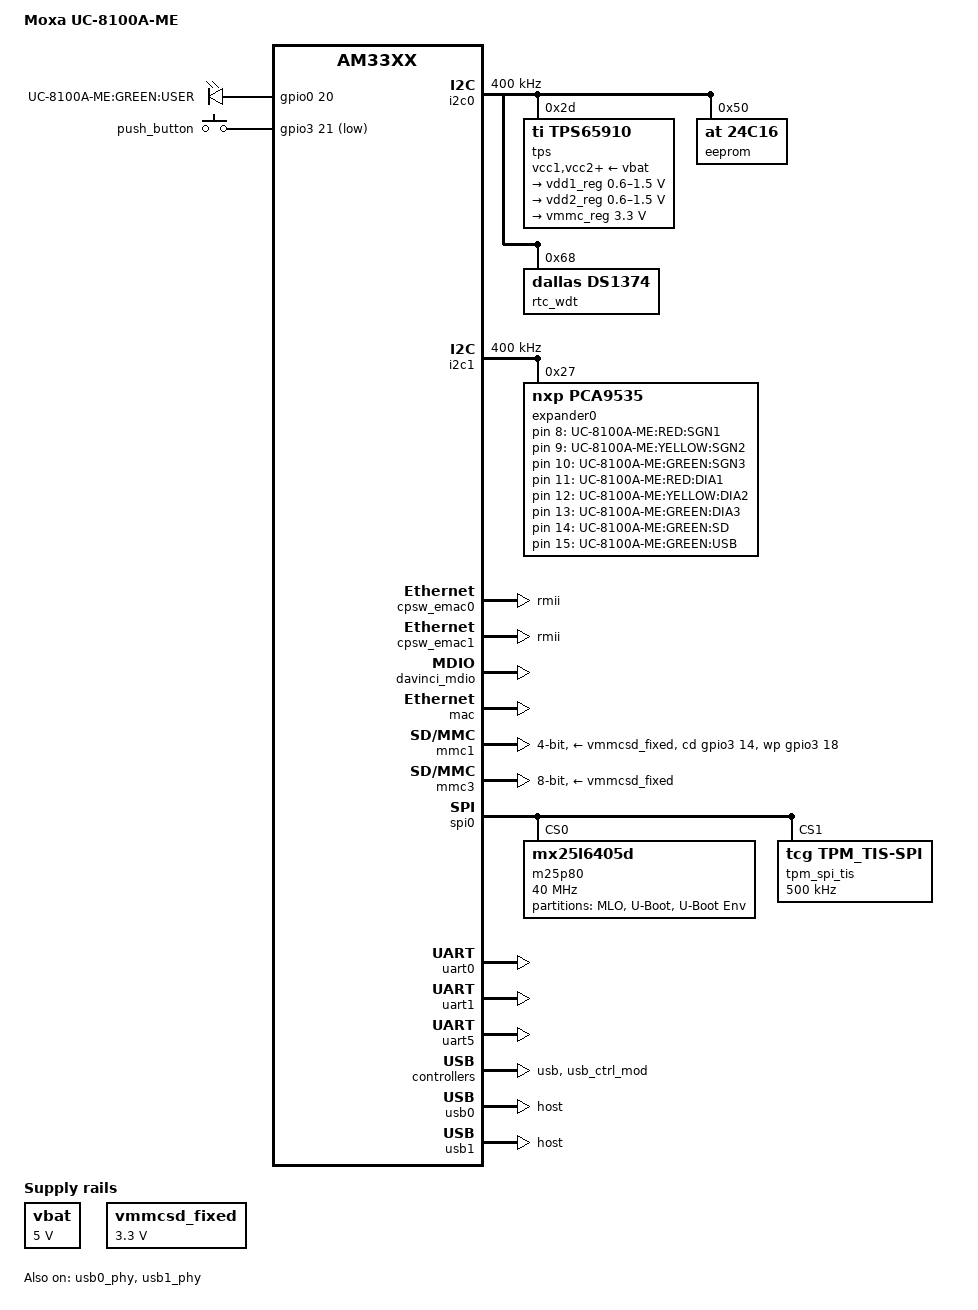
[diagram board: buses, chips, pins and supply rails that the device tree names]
// SPDX-License-Identifier: GPL-2.0
/*
 * Copyright (C) 2018 MOXA Inc. - https://www.moxa.com/
 *
 * Authors: Wes Huang (黃淵河) <wes.huang@moxa.com>
 *          Fero JD Zhou (周俊達) <FeroJD.Zhou@moxa.com>
 *          Ken CJ Chou <KenCJ.Chou@moxa.com>
 */

/dts-v1/;

#include <dt-bindings/input/input.h>
#include "am33xx.dtsi"

/ {
	model = "Moxa UC-8100A-ME";
	compatible = "ti,uc-8100a-me", "ti,am33xx";

	aliases {
		serial0 = &uart0;
		serial1 = &uart1;
		serial2 = &uart5;
	};

	cpus {
		cpu@0 {
			cpu0-supply = <&vdd1_reg>;
		};
	};

	vbat: fixedregulator@0 {
		compatible = "regulator-fixed";
	};

	/* Power supply provides a fixed 3.3V @3A */
	vmmcsd_fixed: fixedregulator@1 {
		compatible = "regulator-fixed";
		regulator-name = "vmmcsd_fixed";
		regulator-min-microvolt = <3300000>;
		regulator-max-microvolt = <3300000>;
		regulator-boot-on;
	};

	leds: user_leds {
		compatible = "gpio-leds";
	};

	buttons: user_buttons {
		compatible = "gpio-keys";
	};
};

/* I2C Busses */
&i2c0 {
	pinctrl-names = "default";
	pinctrl-0 = <&i2c0_pins>;

	status = "okay";
	clock-frequency = <400000>;

	tps: tps@2d {
		compatible = "ti,tps65910";
		reg = <0x2d>;
	};

	eeprom: eeprom@50 {
		compatible = "at,24c16";
		pagesize = <16>;
		reg = <0x50>;
	};

	rtc_wdt: rtc_wdt@68 {
		compatible = "dallas,ds1374";
		reg = <0x68>;
	};
};

&i2c1 {
	pinctrl-names = "default";
	pinctrl-0 = <&i2c1_pins>;

	status = "okay";
	clock-frequency = <400000>;
	expander0: expander0@27 {
		compatible = "nxp,pca9535";
		gpio-controller;
		#gpio-cells = <2>;
		reg = <0x27>;
	};
};

&am33xx_pinmux {
	i2c0_pins: pinmux_i2c0_pins {
		pinctrl-single,pins = <
			AM33XX_IOPAD(0x988 ,PIN_INPUT_PULLUP | MUX_MODE0) /* i2c0_sda */
			AM33XX_IOPAD(0x98c ,PIN_INPUT_PULLUP | MUX_MODE0) /* i2c0_scl */
		>;
	};

	i2c1_pins: pinmux_i2c1_pins {
		pinctrl-single,pins = <
			AM33XX_IOPAD(0x968 ,PIN_INPUT_PULLUP | MUX_MODE3) /* uart0_ctsn.i2c1_sda */
			AM33XX_IOPAD(0x96c ,PIN_INPUT_PULLUP | MUX_MODE3) /* uart0_rtsn.i2c1_scl */
		>;
	};
};

/* Ethernet */
&cpsw_emac0 {
	status = "okay";
	phy_id = <&davinci_mdio>, <4>;
	phy-mode = "rmii";
	dual_emac_res_vlan = <1>;
};

&cpsw_emac1 {
	status = "okay";
	phy_id = <&davinci_mdio>, <5>;
	phy-mode = "rmii";
	dual_emac_res_vlan = <2>;
};

&davinci_mdio {
	pinctrl-names = "default";
	pinctrl-0 = <&davinci_mdio_default>;
	status = "okay";
};

&mac {
	pinctrl-names = "default";
	pinctrl-0 = <&cpsw_default>;
	dual_emac = <1>;
	status = "okay";
};

&phy_sel {
	reg= <0x44e10650 0xf5>;
	rmii-clock-ext;
};

&am33xx_pinmux {
	cpsw_default: cpsw_default {
		pinctrl-single,pins = <
			/* Slave 1 */
			AM33XX_IOPAD(0x90c ,PIN_INPUT_PULLDOWN | MUX_MODE1)  /* mii1_crs.rmii1_crs_dv */
			AM33XX_IOPAD(0x910 ,PIN_INPUT_PULLUP | MUX_MODE1)    /* mii1_rxerr.rmii1_rxerr */
			AM33XX_IOPAD(0x914 ,PIN_OUTPUT_PULLDOWN | MUX_MODE1) /* mii1_txen.rmii1_txen */
			AM33XX_IOPAD(0x924 ,PIN_OUTPUT_PULLDOWN | MUX_MODE1) /* mii1_txd1.rmii1_txd1 */
			AM33XX_IOPAD(0x928 ,PIN_OUTPUT_PULLDOWN | MUX_MODE1) /* mii1_txd0.rmii1_txd0 */
			AM33XX_IOPAD(0x93c ,PIN_INPUT_PULLUP | MUX_MODE1)    /* mii1_rxd1.rmii1_rxd1 */
			AM33XX_IOPAD(0x940 ,PIN_INPUT_PULLUP | MUX_MODE1)    /* mii1_rxd0.rmii1_rxd0 */
			AM33XX_IOPAD(0x944 ,PIN_INPUT_PULLDOWN | MUX_MODE0)  /* mii1_refclk */

			/* Slave 2 */
			AM33XX_IOPAD(0x870 ,PIN_INPUT_PULLDOWN | MUX_MODE3)  /* rmii2_crs_dv */
			AM33XX_IOPAD(0x874 ,PIN_INPUT_PULLDOWN | MUX_MODE3)  /* rmii2_rxer */
			AM33XX_IOPAD(0x840 ,PIN_OUTPUT_PULLDOWN | MUX_MODE3) /* rmii2_txen */
			AM33XX_IOPAD(0x850 ,PIN_OUTPUT_PULLDOWN | MUX_MODE3) /* rmii2_td1 */
			AM33XX_IOPAD(0x854 ,PIN_OUTPUT_PULLDOWN | MUX_MODE3) /* rmii2_td0 */
			AM33XX_IOPAD(0x868 ,PIN_INPUT_PULLDOWN | MUX_MODE3)  /* rmii2_rd1 */
			AM33XX_IOPAD(0x86c ,PIN_INPUT_PULLDOWN | MUX_MODE3)  /* rmii2_rd0 */
			AM33XX_IOPAD(0x908 ,PIN_INPUT_PULLDOWN | MUX_MODE1)  /* rmii2_refclk */
		>;
	};

	davinci_mdio_default: davinci_mdio_default {
		pinctrl-single,pins = <
			/* MDIO */
			AM33XX_IOPAD(0x948 ,PIN_INPUT_PULLUP | SLEWCTRL_FAST | MUX_MODE0)	/* mdio_data.mdio_data */
			AM33XX_IOPAD(0x94c ,PIN_OUTPUT_PULLUP | MUX_MODE0)			/* mdio_clk.mdio_clk */
		>;
	};
};

/* MMC */
&mmc1 {
	pinctrl-names = "default";
	vmmc-supply = <&vmmcsd_fixed>;
	bus-width = <4>;
	pinctrl-0 = <&mmc0_pins_default>;
	cd-gpios = <&gpio3 14 GPIO_ACTIVE_HIGH>;
	wp-gpios = <&gpio3 18 GPIO_ACTIVE_HIGH>;
	status = "okay";
};

&mmc3 {
	/* these are on the crossbar and are outlined in the xbar-event-map element */
	dmas = <&edma_xbar 12 0 1
			&edma_xbar 13 0 2>;
	dma-names = "tx", "rx";
	pinctrl-names = "default";
	vmmc-supply = <&vmmcsd_fixed>;
	bus-width = <8>;
	pinctrl-0 = <&mmc2_pins_default>;
	ti,non-removable;
	status = "okay";
};

&am33xx_pinmux {
	mmc0_pins_default: pinmux_mmc0_pins {
		pinctrl-single,pins = <
			AM33XX_IOPAD(0x8f0 ,PIN_INPUT_PULLUP | MUX_MODE0) /* mmc0_dat3 */
			AM33XX_IOPAD(0x8f4 ,PIN_INPUT_PULLUP | MUX_MODE0) /* mmc0_dat2 */
			AM33XX_IOPAD(0x8f8 ,PIN_INPUT_PULLUP | MUX_MODE0) /* mmc0_dat1 */
			AM33XX_IOPAD(0x8fc ,PIN_INPUT_PULLUP | MUX_MODE0) /* mmc0_dat0 */
			AM33XX_IOPAD(0x900 ,PIN_INPUT_PULLUP | MUX_MODE0) /* mmc0_clk */
			AM33XX_IOPAD(0x904 ,PIN_INPUT_PULLUP | MUX_MODE0) /* mmc0_cmd */
			AM33XX_IOPAD(0x990 ,PIN_INPUT_PULLUP | MUX_MODE7) /* mcasp0_aclkx.gpio3_14 */
			AM33XX_IOPAD(0x9a0 ,PIN_INPUT_PULLUP | MUX_MODE7) /* mcasp0_aclkx.gpio3_18 */
		>;
	};

	mmc2_pins_default: pinmux_mmc2_pins {
		pinctrl-single,pins = <
			/* eMMC */
			AM33XX_IOPAD(0x830 ,PIN_INPUT_PULLUP | MUX_MODE3) /* gpmc_ad12.mmc2_dat0 */
			AM33XX_IOPAD(0x834 ,PIN_INPUT_PULLUP | MUX_MODE3) /* gpmc_ad13.mmc2_dat1 */
			AM33XX_IOPAD(0x838 ,PIN_INPUT_PULLUP | MUX_MODE3) /* gpmc_ad14.mmc2_dat2 */
			AM33XX_IOPAD(0x83c ,PIN_INPUT_PULLUP | MUX_MODE3) /* gpmc_ad15.mmc2_dat3 */
			AM33XX_IOPAD(0x820 ,PIN_INPUT_PULLUP | MUX_MODE3) /* gpmc_ad8.mmc2_dat4 */
			AM33XX_IOPAD(0x824 ,PIN_INPUT_PULLUP | MUX_MODE3) /* gpmc_ad9.mmc2_dat5 */
			AM33XX_IOPAD(0x828 ,PIN_INPUT_PULLUP | MUX_MODE3) /* gpmc_ad10.mmc2_dat6 */
			AM33XX_IOPAD(0x82c ,PIN_INPUT_PULLUP | MUX_MODE3) /* gpmc_ad11.mmc2_dat7 */
			AM33XX_IOPAD(0x888 ,PIN_INPUT_PULLUP | MUX_MODE3) /* gpmc_csn3.mmc2_cmd */
			AM33XX_IOPAD(0x88c ,PIN_INPUT_PULLUP | MUX_MODE3) /* gpmc_clk.mmc2_clk */
		>;
	};
};

/* Power */
&vbat {
	regulator-name = "vbat";
	regulator-min-microvolt = <5000000>;
	regulator-max-microvolt = <5000000>;
};

#include "tps65910.dtsi"
&tps {
	vcc1-supply = <&vbat>;
	vcc2-supply = <&vbat>;
	vcc3-supply = <&vbat>;
	vcc4-supply = <&vbat>;
	vcc5-supply = <&vbat>;
	vcc6-supply = <&vbat>;
	vcc7-supply = <&vbat>;
	vccio-supply = <&vbat>;

	regulators {
		vrtc_reg: regulator@0 {
			regulator-always-on;
		};

		vio_reg: regulator@1 {
			regulator-always-on;
		};

		vdd1_reg: regulator@2 {
			/* VDD_MPU voltage limits 0.95V - 1.26V with +/-4% tolerance */
			regulator-name = "vdd_mpu";
			regulator-min-microvolt = <600000>;
			regulator-max-microvolt = <1500000>;
			regulator-boot-on;
			regulator-always-on;
		};

		vdd2_reg: regulator@3 {
			/* VDD_CORE voltage limits 0.95V - 1.1V with +/-4% tolerance */
			regulator-name = "vdd_core";
			regulator-min-microvolt = <600000>;
			regulator-max-microvolt = <1500000>;
			regulator-boot-on;
			regulator-always-on;
		};

		vdd3_reg: regulator@4 {
			regulator-always-on;
		};

		vdig1_reg: regulator@5 {
			regulator-always-on;
		};

		vdig2_reg: regulator@6 {
			regulator-always-on;
		};

		vpll_reg: regulator@7 {
			regulator-always-on;
		};

		vdac_reg: regulator@8 {
			regulator-always-on;
		};

		vaux1_reg: regulator@9 {
			regulator-always-on;
		};

		vaux2_reg: regulator@10 {
			regulator-always-on;
		};

		vaux33_reg: regulator@11 {
			regulator-always-on;
		};

		vmmc_reg: regulator@12 {
			compatible = "regulator-fixed";
			regulator-name = "vmmc_reg";
			regulator-min-microvolt = <3300000>;
			regulator-max-microvolt = <3300000>;
			regulator-always-on;
		};
	};
};

/* SPI Busses */
&spi0 {
	status = "okay";
	pinctrl-names = "default";
	pinctrl-0 = <&spi0_pins>;

	m25p80@0 {
		compatible = "mx25l6405d";
		spi-max-frequency = <40000000>;

		reg = <0>;
		spi-cpol;
		spi-cpha;

		partitions {
			compatible = "fixed-partitions";
			#address-cells = <1>;
			#size-cells = <1>;

			/* reg : The partition's offset and size within the mtd bank. */
			partitions@0 {
				label = "MLO";
				reg = <0x0 0x80000>;
			};

			partitions@1 {
				label = "U-Boot";
				reg = <0x80000 0x100000>;
			};

			partitions@2 {
				label = "U-Boot Env";
				reg = <0x180000 0x40000>;
			};
		};
	};

	tpm_spi_tis@1{
		compatible = "tcg,tpm_tis-spi";
		reg = <1>; /* CE1 */
		spi-max-frequency = <500000>;
	};
};

&am33xx_pinmux {
	spi0_pins: pinmux_spi0 {
		pinctrl-single,pins = <
			AM33XX_IOPAD(0x950 ,PIN_INPUT_PULLUP | MUX_MODE0) /* spi0_sclk */
			AM33XX_IOPAD(0x95C ,PIN_INPUT_PULLUP | MUX_MODE0) /* spi0_cs0 */
			AM33XX_IOPAD(0x954 ,PIN_INPUT_PULLUP | MUX_MODE0) /* spi0_d0 */
			AM33XX_IOPAD(0x958 ,PIN_INPUT_PULLUP | MUX_MODE0) /* spi0_d1 */
			AM33XX_IOPAD(0x960 ,PIN_INPUT_PULLUP | MUX_MODE0) /* spi0_cs1 */
		>;
	};
};

/* GPIO */
&gpio0 {
	ti,no-reset-on-init;
};

/* UARTs */
&uart0 {
	/* Serial Console */
	pinctrl-names = "default";
	pinctrl-0 = <&uart0_pins>;
	status = "okay";
};

&uart1 {
	status = "okay";
	pinctrl-names = "default";
	pinctrl-0 = <&uart1_pins>;
};

&uart5 {
	status = "okay";
	pinctrl-names = "default";
	pinctrl-0 = <&uart5_pins>;
};

&am33xx_pinmux {
	uart0_pins: pinmux_uart0_pins {
		pinctrl-single,pins = <
			AM33XX_IOPAD(0x970 ,PIN_INPUT_PULLUP | MUX_MODE0)    /* uart0_rxd */
			AM33XX_IOPAD(0x974 ,PIN_OUTPUT_PULLDOWN | MUX_MODE0) /* uart0_txd */
		>;
	};

	uart1_pins: pinmux_uart1_pins {
		pinctrl-single,pins = <
			AM33XX_IOPAD(0x978 ,PIN_INPUT | MUX_MODE0)           /* uart1_ctsn */
			AM33XX_IOPAD(0x97C ,PIN_OUTPUT_PULLDOWN | MUX_MODE0) /* uart1_rtsn */
			AM33XX_IOPAD(0x980 ,PIN_INPUT_PULLUP | MUX_MODE0)    /* uart1_rxd */
			AM33XX_IOPAD(0x984 ,PIN_OUTPUT | MUX_MODE0)          /* uart1_txd */
		>;
	};

	uart5_pins: pinmux_uart5_pins {
		pinctrl-single,pins = <
			AM33XX_IOPAD(0x8d8 ,PIN_INPUT | MUX_MODE6)           /* lcd_data14.uart5_ctsn */
			AM33XX_IOPAD(0x8dc ,PIN_OUTPUT_PULLDOWN | MUX_MODE6) /* lcd_data15.uart5_rtsn */
			AM33XX_IOPAD(0x8c4 ,PIN_INPUT_PULLUP | MUX_MODE4)    /* lcd_data9.uart5_rxd */
			AM33XX_IOPAD(0x8c0 ,PIN_OUTPUT | MUX_MODE4)          /* lcd_data8.uart5_txd */
		>;
	};
};

/* USB */
&usb {
	status = "okay";
};

&usb_ctrl_mod {
	status = "okay";
};

&usb0_phy {
	status = "okay";
};

&usb1_phy {
	status = "okay";
};

&usb0 {
	status = "okay";
	dr_mode = "host";
};

&usb1 {
	status = "okay";
	dr_mode = "host";
};

&cppi41dma  {
	status = "okay";
};

/* MiniPCIe Slot */
&am33xx_pinmux {
	minipcie_pins: pinmux_minipcie {
		pinctrl-single,pins = <
			AM33XX_IOPAD(0x8e0 ,PIN_INPUT_PULLUP | MUX_MODE7)   /* lcd_vsync.gpio2_22 */
			AM33XX_IOPAD(0x8e8 ,PIN_INPUT_PULLUP | MUX_MODE7)   /* lcd_pclk.gpio2_24 */
			AM33XX_IOPAD(0x8ec ,PIN_INPUT_PULLDOWN | MUX_MODE7) /* lcd_ac_bias_en.gpio2_25 */
		>;
	};
};

/* LEDs */
&leds {
	pinctrl-names = "default";
	pinctrl-0 = <&user_leds_pins>;

	led@1 {
		label = "UC-8100A-ME:RED:SGN1";
		gpios = <&expander0 8 GPIO_ACTIVE_HIGH>;
		default-state = "off";
	};

	led@2 {
		label = "UC-8100A-ME:YELLOW:SGN2";
		gpios = <&expander0 9 GPIO_ACTIVE_HIGH>;
		default-state = "off";
	};

	led@3 {
		label = "UC-8100A-ME:GREEN:SGN3";
		gpios = <&expander0 10 GPIO_ACTIVE_HIGH>;
		default-state = "off";
	};

	led@4 {
		label = "UC-8100A-ME:RED:DIA1";
		gpios = <&expander0 11 GPIO_ACTIVE_HIGH>;
		default-state = "off";
	};

	led@5 {
		label = "UC-8100A-ME:YELLOW:DIA2";
		gpios = <&expander0 12 GPIO_ACTIVE_HIGH>;
		default-state = "off";
	};

	led@6 {
		label = "UC-8100A-ME:GREEN:DIA3";
		gpios = <&expander0 13 GPIO_ACTIVE_HIGH>;
		default-state = "off";
	};

	led@7 {
		label = "UC-8100A-ME:GREEN:SD";
		gpios = <&expander0 14 GPIO_ACTIVE_HIGH>;
		default-state = "off";
	};

	led@8 {
		label = "UC-8100A-ME:GREEN:USB";
		gpios = <&expander0 15 GPIO_ACTIVE_HIGH>;
		default-state = "off";
	};

	led@9 {
		label = "UC-8100A-ME:GREEN:USER";
		gpios = <&gpio0 20 GPIO_ACTIVE_HIGH>;
		default-state = "off";
	};
};

&am33xx_pinmux {
	user_leds_pins: pinmux_user_leds {
		pinctrl-single,pins = <
			AM33XX_IOPAD(0x9b4 ,PIN_OUTPUT | MUX_MODE7) /* xdma_event_intr1.gpio0_20 */
		>;
	};
};

/* Push Button */
&buttons {
	pinctrl-names = "default";
	pinctrl-0 = <&user_buttons_pins>;
	#address-cells = <1>;
	#size-cells = <0>;

	button@0 {
		label = "push_button";
		linux,code = <BTN_MISC>;
		gpios = <&gpio3 21 GPIO_ACTIVE_LOW>;
	};
};

&am33xx_pinmux {
	user_buttons_pins: pinmux_user_buttons {
		pinctrl-single,pins = <
			AM33XX_IOPAD(0x9ac ,PIN_INPUT_PULLDOWN | MUX_MODE7) /* mcasp0_ahcklx.gpio3_21 */
		>;
	};
};
